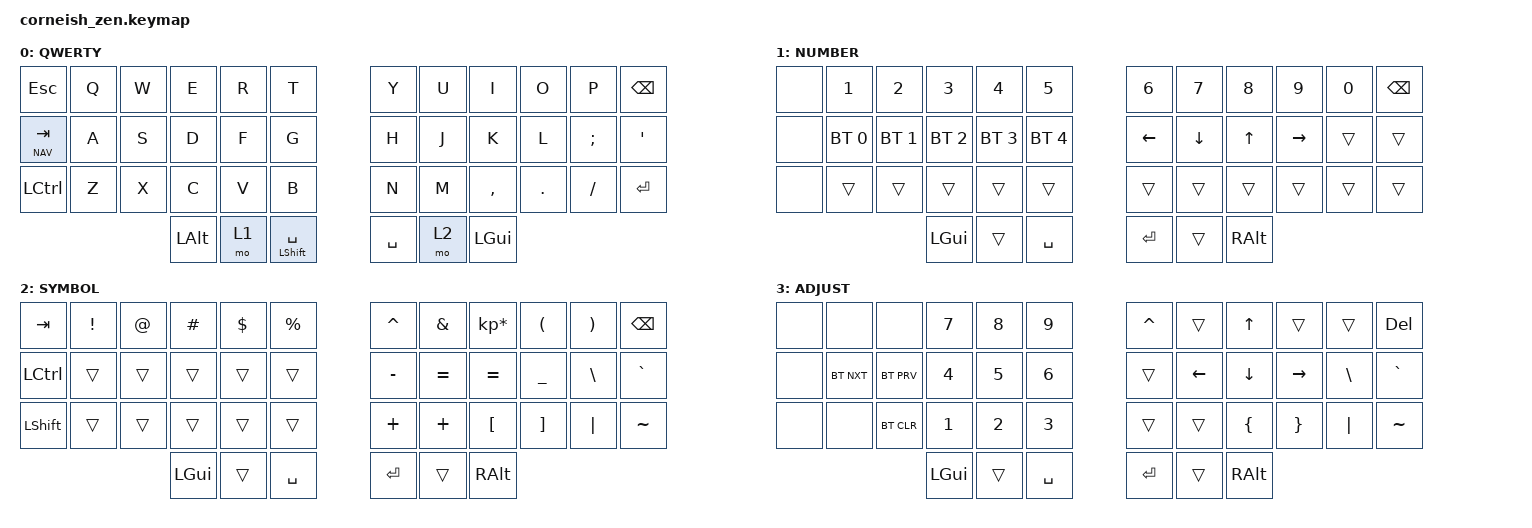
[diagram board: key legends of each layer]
/*
*
* Copyright (c) 2021 Darryl deHaan
* SPDX-License-Identifier: MIT
*
*/

#include <behaviors.dtsi>
#include <dt-bindings/zmk/keys.h>
#include <dt-bindings/zmk/bt.h>

#define DEFAULT 0
#define LOWER   1
#define RAISE   2
#define NAV     3

/ {
  chosen {
    zmk,matrix_transform = &default_transform;
    //zmk,matrix_transform = &five_column_transform;
  };
};

/ {
        keymap {
                compatible = "zmk,keymap";

                default_layer {
                        label = "QWERTY";
// -----------------------------------------------------------------------------------------
// |  ESC   |  Q  |  W  |  E  |  R  |  T  |   |  Y  |  U   |  I  |  O  |  P  | BKSP |
// | L3/TAB |  A  |  S  |  D  |  F  |  G  |   |  H  |  J   |  K  |  L  |  ;  |  '   |
// | CTRL   |  Z  |  X  |  C  |  V  |  B  |   |  N  |  M   |  ,  |  .  |  /  | ENT  |
//                    | GUI | LWR | SPC/SHIFT |   | SPC | RSE  | ALT |
                        bindings = <
   &kp ESC   &kp Q &kp W &kp E &kp R &kp T   &kp Y &kp U  &kp I     &kp O   &kp P    &kp BSPC
   &lt NAV TAB &kp A &kp S &kp D &kp F &kp G   &kp H &kp J  &kp K     &kp L   &kp SEMI &kp SQT
   &kp LCTRL &kp Z &kp X &kp C &kp V &kp B   &kp N &kp M  &kp COMMA &kp DOT &kp FSLH &kp RET
                  &kp LALT &mo 1 &mt LSHIFT SPACE   &kp SPACE &mo 2 &kp LGUI
                        >;
                };
                lower_layer {
                        label = "NUMBER";
// -----------------------------------------------------------------------------------------
// |  TAB |  1  |  2  |  3  |  4  |  5  |   |  6  |  7  |  8  |  9  |  0  | BKSP |
// | BTCLR| BT1 | BT2 | BT3 | BT4 | BT5 |   | LFT | DWN |  UP | RGT |     |      |
// | SHFT |     |     |     |     |     |   |     |     |     |     |     |      |
//                    | GUI |     | SPC |   | ENT |     | ALT |
                        bindings = <
   &none &kp N1       &kp N2       &kp N3       &kp N4       &kp N5         &kp N6   &kp N7   &kp N8 &kp N9    &kp N0 &kp BSPC
   &none &bt BT_SEL 0 &bt BT_SEL 1 &bt BT_SEL 2 &bt BT_SEL 3 &bt BT_SEL 4   &kp LEFT &kp DOWN &kp UP &kp RIGHT &trans &trans
   &none &trans       &trans       &trans       &trans       &trans         &trans   &trans   &trans &trans    &trans &trans
                                        &kp LGUI     &trans       &kp SPACE      &kp RET  &trans   &kp RALT
                        >;
                };

                raise_layer {
                        label = "SYMBOL";
// -----------------------------------------------------------------------------------------
// |  TAB |  !  |  @  |  #  |  $  |  %  |   |  ^  |  &  |  *  |  (  |  )  | BKSP |
// | CTRL |     |     |     |     |     |   |  -  |  =  |  [  |  ]  |  \  |  `   |
// | SHFT |     |     |     |     |     |   |  _  |  +  |  {  |  }  | "|" |  ~   |
//                    | GUI |     | SPC |   | ENT |     | ALT |
                        bindings = <
   &kp  TAB  &kp EXCL &kp AT &kp HASH &kp DLLR &kp PRCNT   &kp CARET &kp AMPS  &kp KP_MULTIPLY &kp LPAR  &kp RPAR &kp BSPC
   &kp LCTRL &trans   &trans &trans   &trans   &trans      &kp MINUS &kp EQUAL &kp EQUAL       &kp UNDER &kp BSLH &kp GRAVE
   &kp LSHFT &trans   &trans &trans   &trans   &trans      &kp PLUS  &kp PLUS  &kp LBKT        &kp RBKT  &kp PIPE &kp TILDE
                             &kp LGUI &trans   &kp SPACE   &kp RET   &trans    &kp RALT
                        >;
                };
                
                adjust_layer {
                        label = "ADJUST";
// -----------------------------------------------------------------------------------------
// |  TAB |  !  |  @  |  #  |  $  |  %  |   |  ^  |  &  |  *  |  (  |  )  | BKSP |
// | CTRL |     |     |     |     |     |   |  -  |  =  |  [  |  ]  |  \  |  `   |
// | SHFT |     |     |     |     |     |   |  _  |  +  |  {  |  }  | "|" |  ~   |
//                    | GUI |     | SPC |   | ENT |     | ALT |
                        bindings = <
   &none   &none      &none      &kp N7 &kp N8 &kp N9      &kp CARET &trans    &kp UP          &trans    &trans &kp DEL
   &none   &bt BT_NXT &bt BT_PRV &kp N4 &kp N5 &kp N6      &trans    &kp LEFT  &kp DOWN        &kp RIGHT &kp BSLH &kp GRAVE
   &none   &none      &bt BT_CLR &kp N1 &kp N2 &kp N3      &trans    &trans    &kp LBRC        &kp RBRC  &kp PIPE &kp TILDE
                      &kp LGUI &trans &kp SPACE            &kp RET   &trans    &kp RALT
                        >;
                };
        };
};
